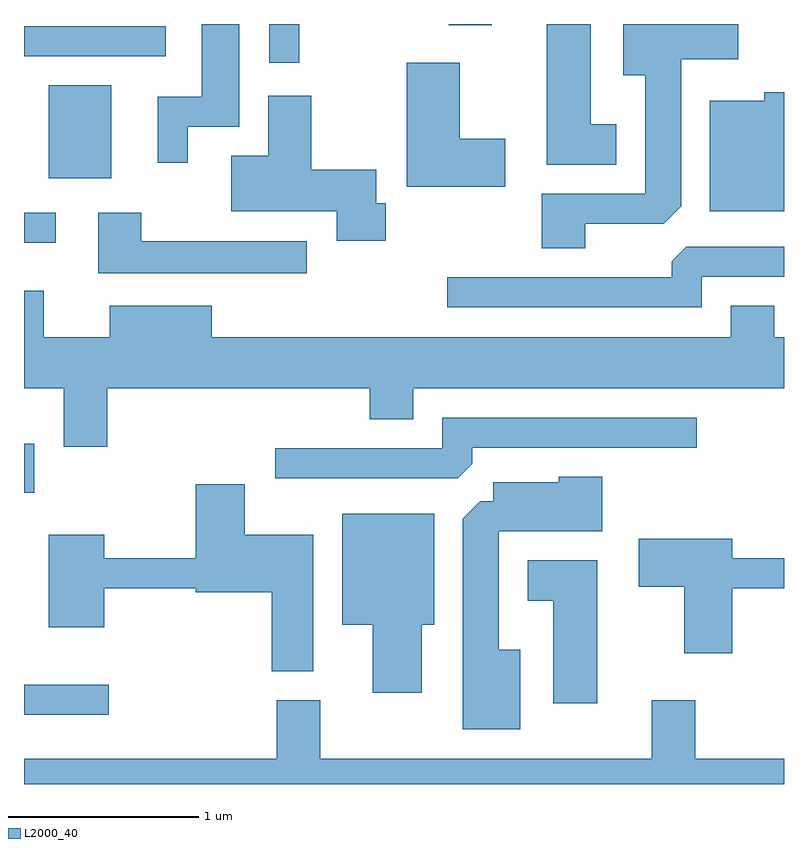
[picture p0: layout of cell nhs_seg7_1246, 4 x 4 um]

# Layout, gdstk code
import gdstk
lib = gdstk.Library(unit=1e-6, precision=1e-09)
def R(c, l, rs):  # rectangles x0, y0, x1, y1
    for r in rs: c.add(gdstk.rectangle(r[:2], r[2:], *l))
def P(c, l, *ps):  # polygons
    for p in ps: c.add(gdstk.Polygon(p, *l))
L2000_40 = (2000, 40)

nhs_seg7_1246 = lib.new_cell('nhs_seg7_1246')
R(nhs_seg7_1246, L2000_40, [(223.611,1692.616,224.058,1692.774), (223.611,1693.786,223.664,1694.044), (223.611,1695.101,223.778,1695.259), (223.741,1695.441,224.069,1695.929), (224.901,1696.048,225.059,1696.252), (223.611,1696.081,224.358,1696.239), (225.846,1696.246,226.074,1696.252)])
P(nhs_seg7_1246, L2000_40, [(226.564,1695.201),(226.979,1695.201),(227.069,1695.292),(227.069,1696.066),(227.369,1696.066),(227.369,1696.252),(226.766,1696.252),(226.766,1695.981),(226.881,1695.981),(226.881,1695.359),(226.336,1695.359),(226.336,1695.071),(226.564,1695.071)],
  [(226.729,1695.724),(226.594,1695.724),(226.594,1696.252),(226.361,1696.252),(226.361,1695.511),(226.729,1695.511)],
  [(224.474,1695.711),(224.744,1695.711),(224.744,1696.252),(224.546,1696.252),(224.546,1695.869),(224.316,1695.869),(224.316,1695.523),(224.474,1695.523)],
  [(226.144,1695.649),(225.904,1695.649),(225.904,1696.049),(225.626,1696.049),(225.626,1695.396),(226.144,1695.396)],
  [(227.611,1695.894),(227.506,1695.894),(227.506,1695.849),(227.221,1695.849),(227.221,1695.266),(227.611,1695.266)],
  [(225.514,1695.309),(225.464,1695.309),(225.464,1695.484),(225.124,1695.484),(225.124,1695.874),(224.896,1695.874),(224.896,1695.559),(224.701,1695.559),(224.701,1695.266),(225.256,1695.266),(225.256,1695.111),(225.514,1695.111)],
  [(225.098,1695.109),(224.229,1695.109),(224.229,1695.259),(224.001,1695.259),(224.001,1694.941),(225.098,1694.941)],
  [(227.179,1694.921),(227.611,1694.921),(227.611,1695.079),(227.097,1695.079),(227.021,1695.004),(227.021,1694.919),(225.838,1694.919),(225.838,1694.761),(227.179,1694.761)],
  [(224.049,1694.336),(225.431,1694.336),(225.431,1694.171),(225.659,1694.171),(225.659,1694.336),(227.611,1694.336),(227.611,1694.604),(227.559,1694.604),(227.559,1694.769),(227.331,1694.769),(227.331,1694.604),(224.599,1694.604),(224.599,1694.769),(224.061,1694.769),(224.061,1694.604),(223.714,1694.604),(223.714,1694.848),(223.611,1694.848),(223.611,1694.336),(223.821,1694.336),(223.821,1694.026),(224.049,1694.026)],
  [(225.969,1693.937),(225.969,1694.021),(227.153,1694.021),(227.153,1694.179),(225.811,1694.179),(225.811,1694.019),(224.933,1694.019),(224.933,1693.861),(225.894,1693.861)],
  [(226.224,1692.959),(226.109,1692.959),(226.109,1693.581),(226.654,1693.581),(226.654,1693.869),(226.426,1693.869),(226.426,1693.839),(226.081,1693.839),(226.081,1693.739),(226.012,1693.739),(225.921,1693.649),(225.921,1692.541),(226.224,1692.541)],
  [(225.134,1693.564),(224.774,1693.564),(224.774,1693.829),(224.516,1693.829),(224.516,1693.439),(224.034,1693.439),(224.034,1693.564),(223.741,1693.564),(223.741,1693.076),(224.034,1693.076),(224.034,1693.281),(224.516,1693.281),(224.516,1693.261),(224.916,1693.261),(224.916,1692.846),(225.134,1692.846)],
  [(225.704,1693.091),(225.769,1693.091),(225.769,1693.674),(225.286,1693.674),(225.286,1693.091),(225.446,1693.091),(225.446,1692.731),(225.704,1692.731)],
  [(227.339,1693.281),(227.611,1693.281),(227.611,1693.439),(227.339,1693.439),(227.339,1693.544),(226.846,1693.544),(226.846,1693.291),(227.086,1693.291),(227.086,1692.941),(227.339,1692.941)],
  [(226.629,1693.429),(226.261,1693.429),(226.261,1693.216),(226.396,1693.216),(226.396,1692.676),(226.629,1692.676)],
  [(227.611,1692.384),(227.144,1692.384),(227.144,1692.694),(226.916,1692.694),(226.916,1692.384),(225.169,1692.384),(225.169,1692.694),(224.941,1692.694),(224.941,1692.384),(223.611,1692.384),(223.611,1692.252),(227.611,1692.252)])

lib.write_gds('nhs_seg7_1246.gds')
